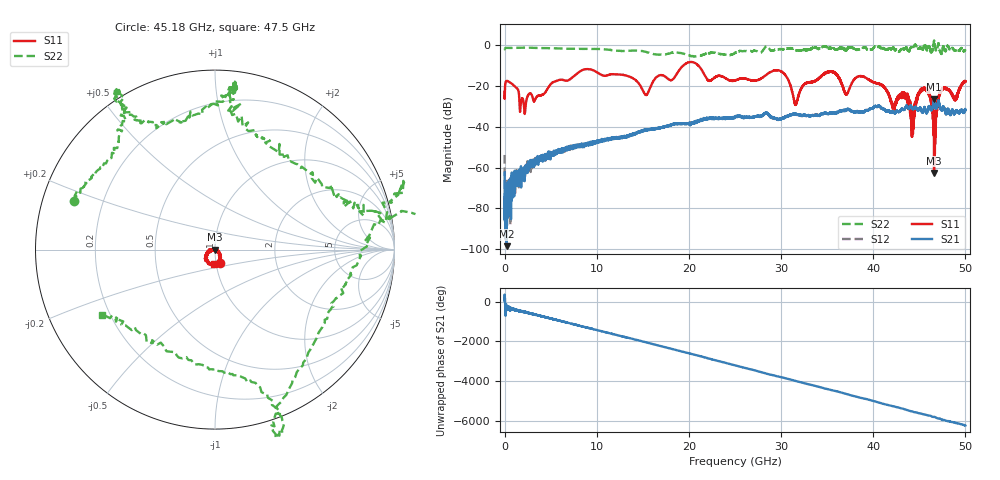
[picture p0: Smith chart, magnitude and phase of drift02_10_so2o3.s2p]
!Created with skrf (http://scikit-rf.org).
# Hz S RI R 50.0
!freq ReS11 ImS11 ReS21 ImS21 ReS12 ImS12 ReS22 ImS22
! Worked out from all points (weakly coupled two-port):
!   10001 points, 300 kHz to 50 GHz, reference 50 ohm
!   highest |S21| = -26.62 dB at 46.61 GHz (marker M1); lowest = -98.4 dB at 210.3 MHz (marker M2)
!   lowest |S11| = -62.6 dB at 46.6 GHz (marker M3), VSWR 1.00, Z = 50.1 + j0.0197 ohm
!   |S11| at or under -10 dB: start of sweep to 19.41 GHz; 21 GHz to end of sweep
!   |S22| runs from -5.7 to 2.2 dB; largest |S21 - S12| = 0.0034
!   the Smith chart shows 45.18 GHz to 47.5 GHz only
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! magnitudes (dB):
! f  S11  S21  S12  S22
! 300 kHz  -23.0  -62.4  -53.8  -2.0
! 210.3 MHz  -17.6  -98.4  -72.2  -1.4
! 2.185 GHz  -33.8  -60.4  -62.5  -1.3
! 8.335 GHz  -12.5  -48.5  -49.2  -1.9
! 15.34 GHz  -24.5  -41.3  -41.5  -3.4
! 16.67 GHz  -15.1  -40.8  -40.8  -4.7
! 20.29 GHz  -8.3  -38.4  -38.4  -5.5
! 25 GHz  -17.4  -35.4  -35.1  -3.9
! 29.85 GHz  -12.6  -36.6  -36.5  -2.0
! 31.59 GHz  -28.9  -33.7  -34.0  -2.4
! 33.34 GHz  -18.1  -34.5  -34.6  -1.6
! 35.59 GHz  -13.3  -33.2  -33.2  -1.6
! 37.1 GHz  -24.3  -31.8  -31.7  -2.2
! 38.75 GHz  -15.3  -32.6  -32.7  -1.1
! 41.67 GHz  -24.1  -32.3  -32.1  -1.9
! 43.48 GHz  -23.9  -30.9  -30.8  -1.5
! 44.25 GHz  -34.0  -31.0  -31.0  -1.5
! 45.71 GHz  -21.4  -32.5  -32.7  -1.0
! 46.6 GHz  -62.6  -27.1  -27.0  1.9
! 46.61 GHz  -41.8  -26.6  -26.8  2.2
! 47.46 GHz  -21.8  -31.7  -31.8  -3.8
! 50 GHz  -17.8  -31.9  -31.8  -2.6
